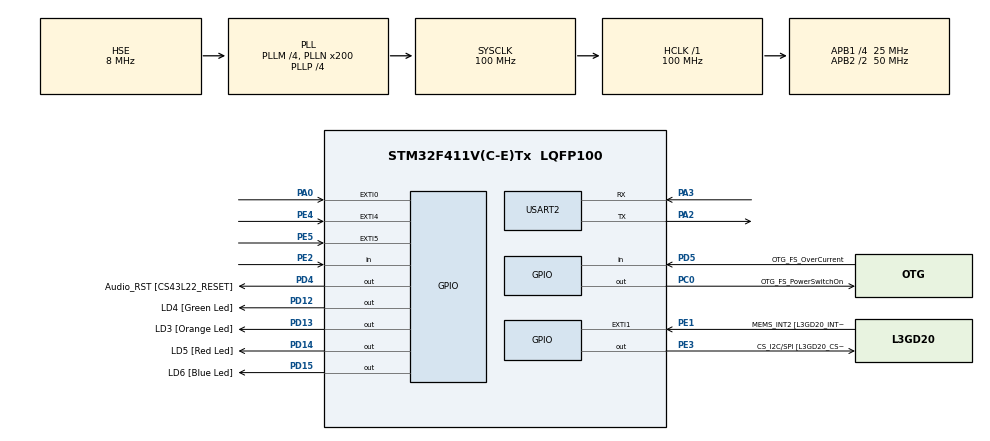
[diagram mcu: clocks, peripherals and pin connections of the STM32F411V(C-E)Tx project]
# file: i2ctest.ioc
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Mcu.Family=STM32F4
Mcu.Name=STM32F411V(C-E)Tx
Mcu.Package=LQFP100
NVIC.PriorityGroup=NVIC_PRIORITYGROUP_0
PA0-WKUP.GPIO_ModeDefaultEXTI=GPIO_MODE_EVT_RISING
PA0-WKUP.Signal=GPXTI0
PA10.GPIO_Label=OTG_FS_ID
PA10.Signal=USB_OTG_FS_ID
PA11.GPIO_Label=OTG_FS_DM
PA11.Signal=USB_OTG_FS_DM
PA12.GPIO_Label=OTG_FS_DP
PA12.Signal=USB_OTG_FS_DP
PA13.GPIO_Label=SWDIO
PA13.Mode=Serial_Wire
PA13.Signal=SYS_JTMS-SWDIO
PA14.GPIO_Label=SWCLK
PA14.Mode=Serial_Wire
PA14.Signal=SYS_JTCK-SWCLK
PA2.Mode=Asynchronous
PA2.Signal=USART2_TX
PA3.Mode=Asynchronous
PA3.Signal=USART2_RX
PA4.GPIO_Label=I2S3_WS [CS43L22_LRCK]
PA4.GPIO_Mode=GPIO_MODE_AF_PP
PA4.GPIO_PuPd=GPIO_NOPULL
PA4.GPIO_Speed=GPIO_SPEED_FREQ_LOW
PA4.Signal=I2S3_WS
PA5.GPIO_Label=SPI1_SCK [L3GD20_SC/SPC]
PA5.Signal=SPI1_SCK
PA6.GPIO_Label=SPI1_MISO [L3GD20_AS0/SDO]
PA6.Signal=SPI1_MISO
PA7.GPIO_Label=SPI1_MOSI [L3GD20_SDA/SDI/SDO]
PA7.Signal=SPI1_MOSI
PA9.GPIO_Label=VBUS_FS
PA9.Signal=USB_OTG_FS_VBUS
PB10.GPIO_Label=CLK_IN [MP45DT02_CLK]
PB10.Signal=I2S2_CK
PB12.Signal=I2S2_WS
PB3.GPIO_Label=SWO
PB3.Signal=SYS_JTDO-SWO
PC0.GPIO_Label=OTG_FS_PowerSwitchOn
PC0.PinState=GPIO_PIN_SET
PC0.Signal=GPIO_Output
PC10.GPIO_Label=I2S3_SCK [CS43L22_SCLK]
PC10.GPIO_Mode=GPIO_MODE_AF_PP
PC10.GPIO_PuPd=GPIO_NOPULL
PC10.GPIO_Speed=GPIO_SPEED_FREQ_LOW
PC10.Signal=I2S3_CK
PC12.GPIO_Label=I2S3_SD [CS43L22_SDIN]
PC12.GPIO_Mode=GPIO_MODE_AF_PP
PC12.GPIO_PuPd=GPIO_NOPULL
PC12.GPIO_Speed=GPIO_SPEED_FREQ_LOW
PC12.Signal=I2S3_SD
PC14-OSC32_IN.GPIO_Label=PC14-OSC32_IN
PC14-OSC32_IN.Signal=RCC_OSC32_IN
PC15-OSC32_OUT.GPIO_Label=PC15-OSC32_OUT
PC15-OSC32_OUT.Signal=RCC_OSC32_OUT
PC3.GPIO_Label=PDM_OUT [MP45DT02_DOUT]
PC3.Signal=I2S2_SD
PC7.GPIO_Label=I2S3_MCK [CS43L22_MCLK]
PC7.GPIO_Mode=GPIO_MODE_AF_PP
PC7.GPIO_PuPd=GPIO_NOPULL
PC7.GPIO_Speed=GPIO_SPEED_FREQ_LOW
PC7.Signal=I2S3_MCK
PD12.GPIO_Label=LD4 [Green Led]
PD12.GPIO_PuPd=GPIO_NOPULL
PD12.GPIO_Speed=GPIO_SPEED_FREQ_LOW
PD12.Signal=GPIO_Output
PD13.GPIO_Label=LD3 [Orange Led]
PD13.GPIO_PuPd=GPIO_NOPULL
PD13.GPIO_Speed=GPIO_SPEED_FREQ_LOW
PD13.Signal=GPIO_Output
PD14.GPIO_Label=LD5 [Red Led]
PD14.GPIO_PuPd=GPIO_NOPULL
PD14.GPIO_Speed=GPIO_SPEED_FREQ_LOW
PD14.Signal=GPIO_Output
PD15.GPIO_Label=LD6 [Blue Led]
PD15.GPIO_PuPd=GPIO_NOPULL
PD15.GPIO_Speed=GPIO_SPEED_FREQ_LOW
PD15.Signal=GPIO_Output
PD4.GPIO_Label=Audio_RST [CS43L22_RESET]
PD4.Signal=GPIO_Output
PD5.GPIO_Label=OTG_FS_OverCurrent
PD5.Signal=GPIO_Input
PE1.GPIO_Label=MEMS_INT2 [L3GD20_INT2]
PE1.GPIO_ModeDefaultEXTI=GPIO_MODE_EVT_RISING
PE1.Signal=GPXTI1
PE2.Signal=GPIO_Input
PE3.GPIO_Label=CS_I2C/SPI [L3GD20_CS_I2C/SPI]
PE3.Signal=GPIO_Output
PE4.GPIO_ModeDefaultEXTI=GPIO_MODE_EVT_RISING
PE4.Signal=GPXTI4
PE5.GPIO_ModeDefaultEXTI=GPIO_MODE_EVT_RISING
PE5.Signal=GPXTI5
PH0\ -\ OSC_IN.GPIO_Label=PH0-OSC_IN
PH0\ -\ OSC_IN.Mode=HSE-External-Oscillator
PH0\ -\ OSC_IN.Signal=RCC_OSC_IN
PH1\ -\ OSC_OUT.GPIO_Label=PH1-OSC_OUT
PH1\ -\ OSC_OUT.Mode=HSE-External-Oscillator
PH1\ -\ OSC_OUT.Signal=RCC_OSC_OUT
ProjectManager.HeapSize=0x200
ProjectManager.StackSize=0x400
ProjectManager.TargetToolchain=SW4STM32
RCC.48MHZClocksFreq_Value=50000000
RCC.AHBFreq_Value=100000000
RCC.APB1CLKDivider=RCC_HCLK_DIV4
RCC.APB1Freq_Value=25000000
RCC.APB1TimFreq_Value=50000000
RCC.APB2CLKDivider=RCC_HCLK_DIV2
RCC.APB2Freq_Value=50000000
RCC.APB2TimFreq_Value=100000000
RCC.CortexFreq_Value=100000000
RCC.HCLKFreq_Value=100000000
RCC.HSE_VALUE=8000000
RCC.HSI_VALUE=16000000
RCC.LSE_VALUE=32768
RCC.PLLI2SM=5
RCC.PLLI2SN=200
RCC.PLLM=4
RCC.PLLN=200
RCC.PLLP=RCC_PLLP_DIV4
RCC.PLLQ=8
RCC.PLLSourceVirtual=RCC_PLLSOURCE_HSE
RCC.SYSCLKFreq_VALUE=100000000
RCC.SYSCLKSource=RCC_SYSCLKSOURCE_PLLCLK
RCC.VCOOutputFreq_Value=400000000
board=STM32F411E-DISCO

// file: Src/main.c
/**
  ******************************************************************************
  * File Name          : main.c
  * Description        : Main program body
  ******************************************************************************
  *
  * COPYRIGHT(c) 2017 STMicroelectronics
  *
  * Redistribution and use in source and binary forms, with or without modification,
  * are permitted provided that the following conditions are met:
  *   1. Redistributions of source code must retain the above copyright notice,
  *      this list of conditions and the following disclaimer.
  *   2. Redistributions in binary form must reproduce the above copyright notice,
  *      this list of conditions and the following disclaimer in the documentation
  *      and/or other materials provided with the distribution.
  *   3. Neither the name of STMicroelectronics nor the names of its contributors
  *      may be used to endorse or promote products derived from this software
  *      without specific prior written permission.
  *
  * THIS SOFTWARE IS PROVIDED BY THE COPYRIGHT HOLDERS AND CONTRIBUTORS "AS IS"
  * AND ANY EXPRESS OR IMPLIED WARRANTIES, INCLUDING, BUT NOT LIMITED TO, THE
  * IMPLIED WARRANTIES OF MERCHANTABILITY AND FITNESS FOR A PARTICULAR PURPOSE ARE
  * DISCLAIMED. IN NO EVENT SHALL THE COPYRIGHT HOLDER OR CONTRIBUTORS BE LIABLE
  * FOR ANY DIRECT, INDIRECT, INCIDENTAL, SPECIAL, EXEMPLARY, OR CONSEQUENTIAL
  * DAMAGES (INCLUDING, BUT NOT LIMITED TO, PROCUREMENT OF SUBSTITUTE GOODS OR
  * SERVICES; LOSS OF USE, DATA, OR PROFITS; OR BUSINESS INTERRUPTION) HOWEVER
  * CAUSED AND ON ANY THEORY OF LIABILITY, WHETHER IN CONTRACT, STRICT LIABILITY,
  * OR TORT (INCLUDING NEGLIGENCE OR OTHERWISE) ARISING IN ANY WAY OUT OF THE USE
  * OF THIS SOFTWARE, EVEN IF ADVISED OF THE POSSIBILITY OF SUCH DAMAGE.
  *
  ******************************************************************************
  */
#include "main.h"
#include "stm32f4xx_hal.h"
#include <stdio.h>

UART_HandleTypeDef huart2;

/* USER CODE BEGIN PV */
/* Private variables ---------------------------------------------------------*/

/* USER CODE END PV */

void SystemClock_Config(void);
void Error_Handler(void);
static void MX_GPIO_Init(void);
static void MX_USART2_UART_Init(void);

/* USER CODE BEGIN PFP */
/* Private function prototypes -----------------------------------------------*/

/* USER CODE END PFP */

/* USER CODE BEGIN 0 */
uint8_t who_am_i_temp;
/* USER CODE END 0 */

int main(void)
{

  /* MCU Configuration----------------------------------------------------------*/

  /* Reset of all peripherals, Initializes the Flash interface and the Systick. */
  HAL_Init();

  /* Configure the system clock */
  SystemClock_Config();

  /* Initialize all configured peripherals */
  MX_GPIO_Init();
  MX_USART2_UART_Init();

  /* USER CODE BEGIN 2 */
  I2C_SoftWare_Master_Init();
  uint8_t data = 0x27, address;
  I2C_SoftWare_Master_Write(0x32, 0x20, &data, 1);
  uint8_t accData[6];
  int16_t acc[3];
  int8_t u2txbuf[100];
  /* USER CODE END 2 */

  /* Infinite loop */
  while (1)
  {

  /* USER CODE BEGIN 3 */
	  address = 0x28;
	  for(int i=0;i<6;i++)
	  {
		  I2C_SoftWare_Master_Read(0x32, address, &accData[i], 1);
		  address++;
	  }

	  acc[0] = (((int16_t)accData[1])<<8)+accData[0];
	  acc[1] = (((int16_t)accData[3])<<8)+accData[2];
	  acc[2] = (((int16_t)accData[5])<<8)+accData[4];
	  sprintf(u2txbuf, "x %d y %d z %d\r\n", acc[0], acc[1], acc[2]);
	  HAL_UART_Transmit(&huart2, u2txbuf, strlen(u2txbuf), 1000);
//	  HAL_UART_Transmit(&huart2, &accData[0], 1, 1000);
	  HAL_Delay(1000);

  }
  /* USER CODE END 3 */

}

/** System Clock Configuration
*/
void SystemClock_Config(void)
{

  RCC_OscInitTypeDef RCC_OscInitStruct;
  RCC_ClkInitTypeDef RCC_ClkInitStruct;

    /**Configure the main internal regulator output voltage
    */
  __HAL_RCC_PWR_CLK_ENABLE();

  __HAL_PWR_VOLTAGESCALING_CONFIG(PWR_REGULATOR_VOLTAGE_SCALE1);

    /**Initializes the CPU, AHB and APB busses clocks
    */
  RCC_OscInitStruct.OscillatorType = RCC_OSCILLATORTYPE_HSE;
  RCC_OscInitStruct.HSEState = RCC_HSE_ON;
  RCC_OscInitStruct.PLL.PLLState = RCC_PLL_ON;
  RCC_OscInitStruct.PLL.PLLSource = RCC_PLLSOURCE_HSE;
  RCC_OscInitStruct.PLL.PLLM = 4;
  RCC_OscInitStruct.PLL.PLLN = 200;
  RCC_OscInitStruct.PLL.PLLP = RCC_PLLP_DIV4;
  RCC_OscInitStruct.PLL.PLLQ = 8;
  if (HAL_RCC_OscConfig(&RCC_OscInitStruct) != HAL_OK)
  {
    Error_Handler();
  }

    /**Initializes the CPU, AHB and APB busses clocks
    */
  RCC_ClkInitStruct.ClockType = RCC_CLOCKTYPE_HCLK|RCC_CLOCKTYPE_SYSCLK
                              |RCC_CLOCKTYPE_PCLK1|RCC_CLOCKTYPE_PCLK2;
  RCC_ClkInitStruct.SYSCLKSource = RCC_SYSCLKSOURCE_PLLCLK;
  RCC_ClkInitStruct.AHBCLKDivider = RCC_SYSCLK_DIV1;
  RCC_ClkInitStruct.APB1CLKDivider = RCC_HCLK_DIV4;
  RCC_ClkInitStruct.APB2CLKDivider = RCC_HCLK_DIV2;

  if (HAL_RCC_ClockConfig(&RCC_ClkInitStruct, FLASH_LATENCY_3) != HAL_OK)
  {
    Error_Handler();
  }

    /**Configure the Systick interrupt time
    */
  HAL_SYSTICK_Config(HAL_RCC_GetHCLKFreq()/1000);

    /**Configure the Systick
    */
  HAL_SYSTICK_CLKSourceConfig(SYSTICK_CLKSOURCE_HCLK);

  /* SysTick_IRQn interrupt configuration */
  HAL_NVIC_SetPriority(SysTick_IRQn, 0, 0);
}

/* USART2 init function */
static void MX_USART2_UART_Init(void)
{

  huart2.Instance = USART2;
  huart2.Init.BaudRate = 115200;
  huart2.Init.WordLength = UART_WORDLENGTH_8B;
  huart2.Init.StopBits = UART_STOPBITS_1;
  huart2.Init.Parity = UART_PARITY_NONE;
  huart2.Init.Mode = UART_MODE_TX_RX;
  huart2.Init.HwFlowCtl = UART_HWCONTROL_NONE;
  huart2.Init.OverSampling = UART_OVERSAMPLING_16;
  if (HAL_UART_Init(&huart2) != HAL_OK)
  {
    Error_Handler();
  }

}

/** Configure pins as
        * Analog
        * Input
        * Output
        * EVENT_OUT
        * EXTI
     PC3   ------> I2S2_SD
     PA4   ------> I2S3_WS
     PA5   ------> SPI1_SCK
     PA6   ------> SPI1_MISO
     PA7   ------> SPI1_MOSI
     PB10   ------> I2S2_CK
     PB12   ------> I2S2_WS
     PC7   ------> I2S3_MCK
     PA9   ------> USB_OTG_FS_VBUS
     PA10   ------> USB_OTG_FS_ID
     PA11   ------> USB_OTG_FS_DM
     PA12   ------> USB_OTG_FS_DP
     PC10   ------> I2S3_CK
     PC12   ------> I2S3_SD
*/
static void MX_GPIO_Init(void)
{

  GPIO_InitTypeDef GPIO_InitStruct;

  /* GPIO Ports Clock Enable */
  __HAL_RCC_GPIOE_CLK_ENABLE();
  __HAL_RCC_GPIOC_CLK_ENABLE();
  __HAL_RCC_GPIOH_CLK_ENABLE();
  __HAL_RCC_GPIOA_CLK_ENABLE();
  __HAL_RCC_GPIOB_CLK_ENABLE();
  __HAL_RCC_GPIOD_CLK_ENABLE();

  /*Configure GPIO pin Output Level */
  HAL_GPIO_WritePin(CS_I2C_SPI_GPIO_Port, CS_I2C_SPI_Pin, GPIO_PIN_RESET);

  /*Configure GPIO pin Output Level */
  HAL_GPIO_WritePin(OTG_FS_PowerSwitchOn_GPIO_Port, OTG_FS_PowerSwitchOn_Pin, GPIO_PIN_SET);

  /*Configure GPIO pin Output Level */
  HAL_GPIO_WritePin(GPIOD, LD4_Pin|LD3_Pin|LD5_Pin|LD6_Pin
                          |Audio_RST_Pin, GPIO_PIN_RESET);

  /*Configure GPIO pin : PE2 */
  GPIO_InitStruct.Pin = GPIO_PIN_2;
  GPIO_InitStruct.Mode = GPIO_MODE_INPUT;
  GPIO_InitStruct.Pull = GPIO_NOPULL;
  HAL_GPIO_Init(GPIOE, &GPIO_InitStruct);

  /*Configure GPIO pin : CS_I2C_SPI_Pin */
  GPIO_InitStruct.Pin = CS_I2C_SPI_Pin;
  GPIO_InitStruct.Mode = GPIO_MODE_OUTPUT_PP;
  GPIO_InitStruct.Pull = GPIO_NOPULL;
  GPIO_InitStruct.Speed = GPIO_SPEED_FREQ_LOW;
  HAL_GPIO_Init(CS_I2C_SPI_GPIO_Port, &GPIO_InitStruct);

  /*Configure GPIO pins : PE4 PE5 MEMS_INT2_Pin */
  GPIO_InitStruct.Pin = GPIO_PIN_4|GPIO_PIN_5|MEMS_INT2_Pin;
  GPIO_InitStruct.Mode = GPIO_MODE_EVT_RISING;
  GPIO_InitStruct.Pull = GPIO_NOPULL;
  HAL_GPIO_Init(GPIOE, &GPIO_InitStruct);

  /*Configure GPIO pin : OTG_FS_PowerSwitchOn_Pin */
  GPIO_InitStruct.Pin = OTG_FS_PowerSwitchOn_Pin;
  GPIO_InitStruct.Mode = GPIO_MODE_OUTPUT_PP;
  GPIO_InitStruct.Pull = GPIO_NOPULL;
  GPIO_InitStruct.Speed = GPIO_SPEED_FREQ_LOW;
  HAL_GPIO_Init(OTG_FS_PowerSwitchOn_GPIO_Port, &GPIO_InitStruct);

  /*Configure GPIO pin : PDM_OUT_Pin */
  GPIO_InitStruct.Pin = PDM_OUT_Pin;
  GPIO_InitStruct.Mode = GPIO_MODE_AF_PP;
  GPIO_InitStruct.Pull = GPIO_NOPULL;
  GPIO_InitStruct.Speed = GPIO_SPEED_FREQ_LOW;
  GPIO_InitStruct.Alternate = GPIO_AF5_SPI2;
  HAL_GPIO_Init(PDM_OUT_GPIO_Port, &GPIO_InitStruct);

  /*Configure GPIO pin : PA0 */
  GPIO_InitStruct.Pin = GPIO_PIN_0;
  GPIO_InitStruct.Mode = GPIO_MODE_EVT_RISING;
  GPIO_InitStruct.Pull = GPIO_NOPULL;
  HAL_GPIO_Init(GPIOA, &GPIO_InitStruct);

  /*Configure GPIO pin : I2S3_WS_Pin */
  GPIO_InitStruct.Pin = I2S3_WS_Pin;
  GPIO_InitStruct.Mode = GPIO_MODE_AF_PP;
  GPIO_InitStruct.Pull = GPIO_NOPULL;
  GPIO_InitStruct.Speed = GPIO_SPEED_FREQ_LOW;
  GPIO_InitStruct.Alternate = GPIO_AF6_SPI3;
  HAL_GPIO_Init(I2S3_WS_GPIO_Port, &GPIO_InitStruct);

  /*Configure GPIO pins : SPI1_SCK_Pin SPI1_MISO_Pin SPI1_MOSI_Pin */
  GPIO_InitStruct.Pin = SPI1_SCK_Pin|SPI1_MISO_Pin|SPI1_MOSI_Pin;
  GPIO_InitStruct.Mode = GPIO_MODE_AF_PP;
  GPIO_InitStruct.Pull = GPIO_NOPULL;
  GPIO_InitStruct.Speed = GPIO_SPEED_FREQ_VERY_HIGH;
  GPIO_InitStruct.Alternate = GPIO_AF5_SPI1;
  HAL_GPIO_Init(GPIOA, &GPIO_InitStruct);

  /*Configure GPIO pins : CLK_IN_Pin PB12 */
  GPIO_InitStruct.Pin = CLK_IN_Pin|GPIO_PIN_12;
  GPIO_InitStruct.Mode = GPIO_MODE_AF_PP;
  GPIO_InitStruct.Pull = GPIO_NOPULL;
  GPIO_InitStruct.Speed = GPIO_SPEED_FREQ_LOW;
  GPIO_InitStruct.Alternate = GPIO_AF5_SPI2;
  HAL_GPIO_Init(GPIOB, &GPIO_InitStruct);

  /*Configure GPIO pins : LD4_Pin LD3_Pin LD5_Pin LD6_Pin
                           Audio_RST_Pin */
  GPIO_InitStruct.Pin = LD4_Pin|LD3_Pin|LD5_Pin|LD6_Pin
                          |Audio_RST_Pin;
  GPIO_InitStruct.Mode = GPIO_MODE_OUTPUT_PP;
  GPIO_InitStruct.Pull = GPIO_NOPULL;
  GPIO_InitStruct.Speed = GPIO_SPEED_FREQ_LOW;
  HAL_GPIO_Init(GPIOD, &GPIO_InitStruct);

  /*Configure GPIO pins : I2S3_MCK_Pin I2S3_SCK_Pin I2S3_SD_Pin */
  GPIO_InitStruct.Pin = I2S3_MCK_Pin|I2S3_SCK_Pin|I2S3_SD_Pin;
  GPIO_InitStruct.Mode = GPIO_MODE_AF_PP;
  GPIO_InitStruct.Pull = GPIO_NOPULL;
  GPIO_InitStruct.Speed = GPIO_SPEED_FREQ_LOW;
  GPIO_InitStruct.Alternate = GPIO_AF6_SPI3;
  HAL_GPIO_Init(GPIOC, &GPIO_InitStruct);

  /*Configure GPIO pin : VBUS_FS_Pin */
  GPIO_InitStruct.Pin = VBUS_FS_Pin;
  GPIO_InitStruct.Mode = GPIO_MODE_INPUT;
  GPIO_InitStruct.Pull = GPIO_NOPULL;
  HAL_GPIO_Init(VBUS_FS_GPIO_Port, &GPIO_InitStruct);

  /*Configure GPIO pins : OTG_FS_ID_Pin OTG_FS_DM_Pin OTG_FS_DP_Pin */
  GPIO_InitStruct.Pin = OTG_FS_ID_Pin|OTG_FS_DM_Pin|OTG_FS_DP_Pin;
  GPIO_InitStruct.Mode = GPIO_MODE_AF_PP;
  GPIO_InitStruct.Pull = GPIO_NOPULL;
  GPIO_InitStruct.Speed = GPIO_SPEED_FREQ_VERY_HIGH;
  GPIO_InitStruct.Alternate = GPIO_AF10_OTG_FS;
  HAL_GPIO_Init(GPIOA, &GPIO_InitStruct);

  /*Configure GPIO pin : OTG_FS_OverCurrent_Pin */
  GPIO_InitStruct.Pin = OTG_FS_OverCurrent_Pin;
  GPIO_InitStruct.Mode = GPIO_MODE_INPUT;
  GPIO_InitStruct.Pull = GPIO_NOPULL;
  HAL_GPIO_Init(OTG_FS_OverCurrent_GPIO_Port, &GPIO_InitStruct);

}

void Error_Handler(void)
{
  while(1)
  {
  }
}

/************************ (C) COPYRIGHT STMicroelectronics *****END OF FILE****/
